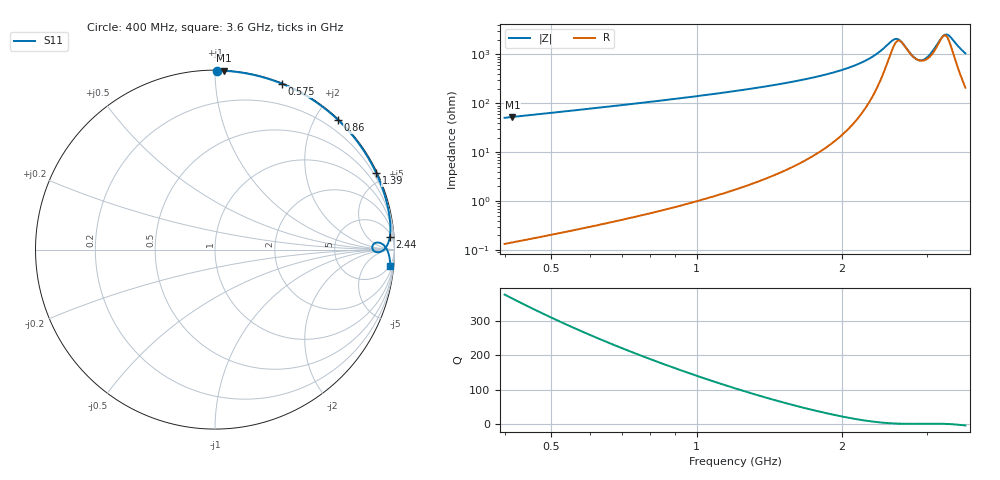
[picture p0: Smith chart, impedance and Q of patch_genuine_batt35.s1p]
! patch_genuine_batt35
! simulated by sim/rf_fdtd.py
# HZ S RI R 50
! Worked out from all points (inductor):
!   641 points, 400 MHz to 3.6 GHz, reference 50 ohm
!   read as one part to ground: L = 19.5 nH near 415 MHz
!   highest Q = 367 at 415 MHz (marker M1), where L = 20.1 nH
!   self-resonance near 2.673 GHz
!   S11 on the Smith chart (normalised r, x): 400 MHz: 0.00, +1.01; 575 MHz: 0.01, +1.48; 860 MHz: 0.01, +2.33; 1.39 GHz: 0.06, +4.43; 2.44 GHz: 9, +25; 3.6 GHz: 4, -21
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4e8  0.0113 0.9973
4.15e8  0.0493 0.9961
4.55e8  0.144 0.9866
4.95e8  0.2291 0.9702
5.75e8  0.3732 0.9241
6.25e8  0.4478 0.8902
6.8e8  0.5183 0.8508
7.4e8  0.5836 0.8073
8e8  0.6387 0.7642
8.6e8  0.6855 0.7223
1.015e9  0.7772 0.622
1.2e9  0.8495 0.5181
1.39e9  0.898 0.4271
1.6e9  0.9333 0.3408
2e9  0.9693 0.2034
2.4e9  0.9753 0.0812
2.44e9  0.9736 0.0689
2.63e9  0.9513 0.0112
2.725e9  0.9254 -0.0106
2.8e9  0.898 -0.0137
2.855e9  0.8811 -0.00265
2.9e9  0.876 0.0128
2.95e9  0.8825 0.0294
3.01e9  0.9015 0.0392
3.085e9  0.9271 0.0342
3.2e9  0.9532 0.00864
3.365e9  0.9701 -0.0341
3.6e9  0.9771 -0.0915
